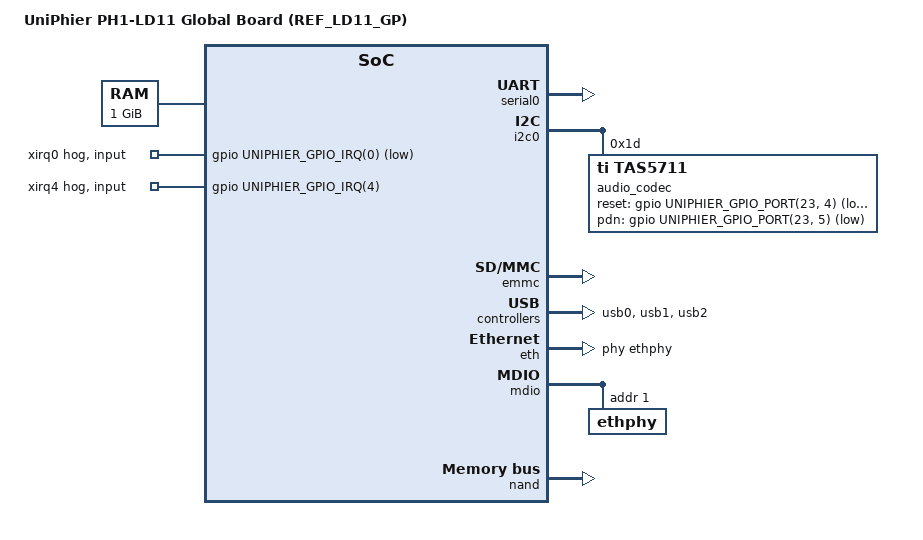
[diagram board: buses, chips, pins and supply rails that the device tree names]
// SPDX-License-Identifier: GPL-2.0+ OR MIT
//
// Device Tree Source for UniPhier PH1-LD11 Reference Board
//
// Copyright (C) 2016-2017 Socionext Inc.
//   Author: Masahiro Yamada <yamada.masahiro@socionext.com>
//           Kunihiko Hayashi <hayashi.kunihiko@socionext.com>

/dts-v1/;
#include "uniphier-ph1-ld11.dtsi"
#include "uniphier-support-card.dtsi"

/ {
	model = "UniPhier PH1-LD11 Global Board (REF_LD11_GP)";
	compatible = "socionext,ph1-ld11-global", "socionext,ph1-ld11";

	chosen {
		stdout-path = "serial0:115200n8";
		bootargs = "earlycon";
	};

	aliases {
		serial0 = &serial0;
		serial1 = &serial1;
		serial2 = &serialsc;
		serial3 = &serial3;
		i2c0 = &i2c0;
		i2c1 = &i2c1;
		i2c2 = &i2c2;
		i2c3 = &i2c3;
		i2c4 = &i2c4;
		i2c5 = &i2c5;
		ethernet0 = &eth;
		ethernet1 = &ethsc;
};

	memory {
		device_type = "memory";
		reg = <0 0x80000000 0 0x40000000>;
	};
};

&ethsc {
	interrupts = <4 8>;
};

&serialsc {
	interrupts = <4 8>;
};

&serial0 {
	status = "okay";
};

&gpio {
	xirq0 {
		gpio-hog;
		gpios = <UNIPHIER_GPIO_IRQ(0) 1>;
		input;
	};

	xirq4 {
		gpio-hog;
		gpios = <UNIPHIER_GPIO_IRQ(4) 0>;
		input;
	};
};

&audio {
	interrupt-names = "aio", "hp-det";
	interrupts = <0 144 4>, <0 48 1>;
};

&i2c0 {
	status = "okay";

	audio_codec: tas5707a@1d {
		compatible = "ti,tas5711";
		reg = <0x1d>;
		mclk = <384>;
		reset-gpios = <&gpio UNIPHIER_GPIO_PORT(23, 4) GPIO_ACTIVE_LOW>;
		pdn-gpios = <&gpio UNIPHIER_GPIO_PORT(23, 5) GPIO_ACTIVE_LOW>;
		#sound-dai-cells = <0>;
	};
};

&sound_codec_sp {
	sound-dai = <&audio_codec>;
};

&emmc {
	status = "okay";
};

&usb0 {
	status = "okay";
};

&usb1 {
	status = "okay";
};

&usb2 {
	status = "okay";
};

&eth {
	status = "okay";
	phy-handle = <&ethphy>;
};

&mdio {
	ethphy: ethphy@1 {
		reg = <1>;
	};
};

&nand {
	status = "okay";

	/* setting for nand bad block management */
	boot_block_bank0 = <8>;
	boot_block_bank1 = <0>;
	alt_block_bank0 = <126>;
	alt_block_bank1 = <0>;
	nand-on-flash-bbt;

	partitions {
		compatible = "fixed-partitions";
		#address-cells = <1>;
		#size-cells = <1>;

		partition@0 {
			label = "total area";
			reg = <0x0 0x40000000>;
		};
	};
};

